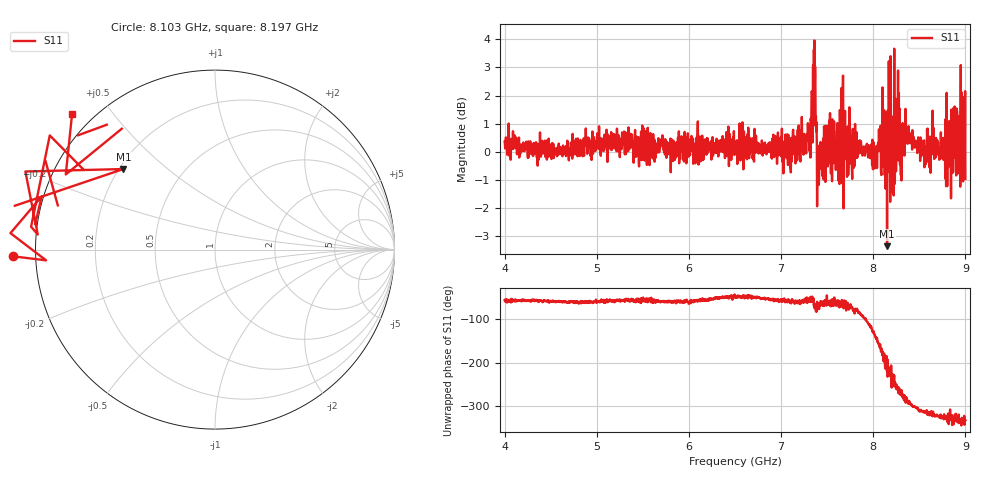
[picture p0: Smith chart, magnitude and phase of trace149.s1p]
! Created with skrf 1.8.0 (http://scikit-rf.org).
# Hz S RI R 50.0
!freq ReS11 ImS11
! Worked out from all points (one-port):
!   1601 points, 4 GHz to 9 GHz, reference 50 ohm
!   lowest |S11| = -3.4 dB at 8.15 GHz (marker M1), VSWR 5.24, Z = 10.8 + j18.1 ohm
!   |S11| at or under -10 dB: nowhere
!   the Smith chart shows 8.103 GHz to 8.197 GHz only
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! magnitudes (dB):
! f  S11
! 4 GHz  0.4
! 4.625 GHz  0.0
! 5.25 GHz  -0.2
! 5.875 GHz  0.3
! 6.5 GHz  0.2
! 7.125 GHz  0.1
! 7.294 GHz  0.7
! 7.328 GHz  1.1
! 7.347 GHz  3.1
! 7.369 GHz  3.0
! 7.4 GHz  0.2
! 7.416 GHz  -0.2
! 7.509 GHz  0.4
! 7.609 GHz  0.6
! 7.662 GHz  -0.4
! 7.75 GHz  -0.1
! 8.022 GHz  0.1
! 8.15 GHz  -3.4
! 8.178 GHz  3.0
! 8.209 GHz  0.5
! 8.253 GHz  1.3
! 8.312 GHz  0.9
! 8.375 GHz  0.6
! 8.556 GHz  -0.5
! 8.659 GHz  0.0
! 8.797 GHz  2.1
! 8.972 GHz  0.0
! 9 GHz  -1.0
